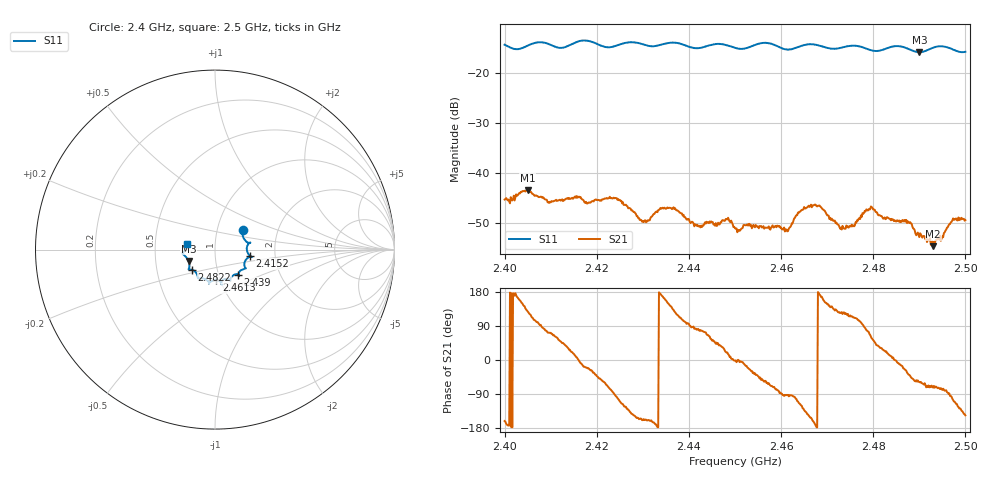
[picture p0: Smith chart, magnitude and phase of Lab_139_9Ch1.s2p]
# Hz S RI R 50
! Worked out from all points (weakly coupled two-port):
!   601 points, 2.4 GHz to 2.5 GHz, reference 50 ohm
!   highest |S21| = -43.39 dB at 2.405 GHz (marker M1); lowest = -54.6 dB at 2.493 GHz (marker M2)
!   lowest |S11| = -15.9 dB at 2.49 GHz (marker M3), VSWR 1.38, Z = 36.9 - j4.85 ohm
!   |S11| at or under -10 dB: start of sweep to end of sweep
!   S12 and S22 are empty: the file has one direction only
!   S11 on the Smith chart (normalised r, x): 2.4 GHz: 1.33, +0.30; 2.4152 GHz: 1.48, -0.11; 2.439 GHz: 1.24, -0.36; 2.4613 GHz: 0.96, -0.34; 2.4822 GHz: 0.76, -0.17; 2.5 GHz: 0.73, +0.05
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2.4e9  0.155 0.1104  -0.00514 -0.00177  0 0  0 0
2.405e9  0.1818 0.0396  -0.00424 0.00528  0 0  0 0
2.409833e9  0.1879 0.0339  0.00163 0.00489  0 0  0 0
2.415167e9  0.195 -0.0359  0.00554 0.00133  0 0  0 0
2.416667e9  0.2047 -0.0418  0.00546 -0.000921  0 0  0 0
2.424167e9  0.1636 -0.0877  -0.000567 -0.00557  0 0  0 0
2.430333e9  0.1551 -0.11  -0.00309 -0.00121  0 0  0 0
2.433333e9  0.1322 -0.1325  -0.00425 -0.000161  0 0  0 0
2.439e9  0.1279 -0.1388  -0.000747 0.00355  0 0  0 0
2.448333e9  0.0826 -0.1686  0.00324 0.00117  0 0  0 0
2.45e9  0.0682 -0.1636  0.0028 -8.41e-05  0 0  0 0
2.461333e9  0.00706 -0.17  -0.0001 -0.00261  0 0  0 0
2.466667e9  -0.0334 -0.1895  -0.00414 -0.00188  0 0  0 0
2.473333e9  -0.0801 -0.16  -0.00155 0.00253  0 0  0 0
2.479333e9  -0.1017 -0.1344  0.00177 0.00397  0 0  0 0
2.482167e9  -0.1278 -0.1122  0.00312 0.00158  0 0  0 0
2.483333e9  -0.1391 -0.1108  0.00342 0.000885  0 0  0 0
2.487667e9  -0.1426 -0.0968  0.00251 -0.002  0 0  0 0
2.49e9  -0.1468 -0.064  0.00122 -0.00194  0 0  0 0
2.493e9  -0.1755 -0.0275  0.000547 -0.00178  0 0  0 0
2.497333e9  -0.17 -0.00784  -0.000967 -0.00338  0 0  0 0
2.5e9  -0.1583 0.0339  -0.00281 -0.00188  0 0  0 0
